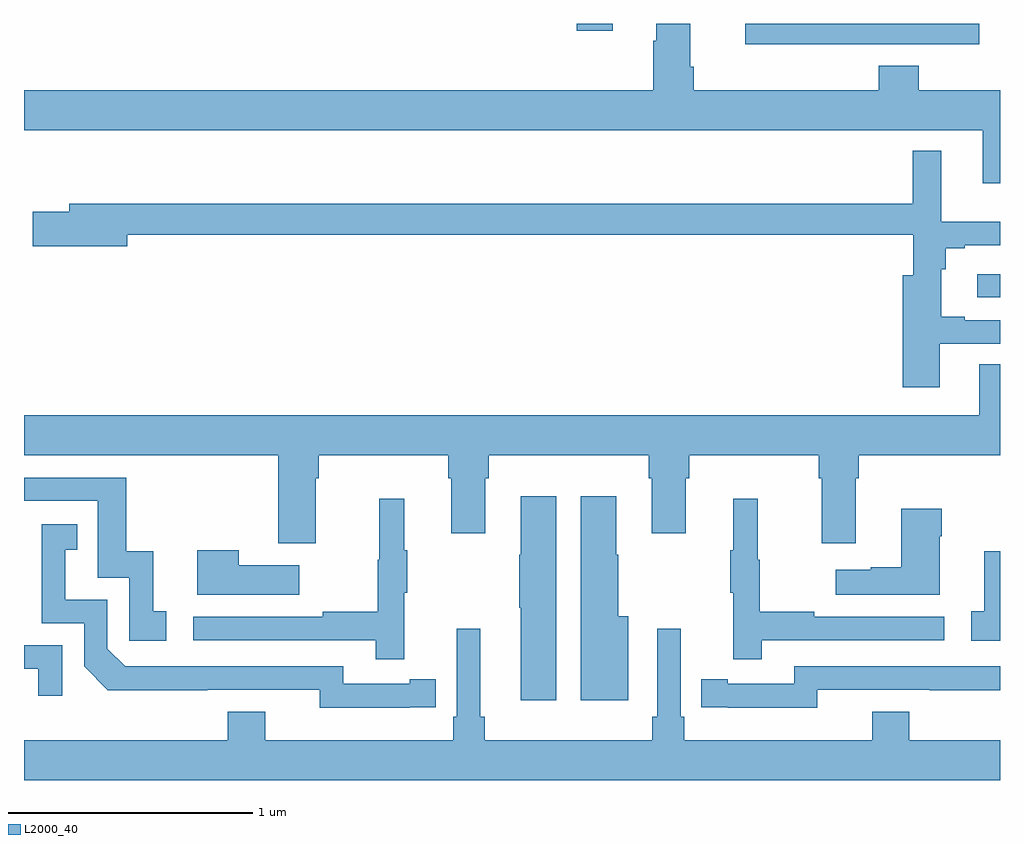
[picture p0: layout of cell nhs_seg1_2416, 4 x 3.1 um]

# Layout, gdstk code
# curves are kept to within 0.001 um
import gdstk
lib = gdstk.Library(unit=1e-6, precision=1e-09)
def R(c, l, rs):  # rectangles x0, y0, x1, y1
    for r in rs: c.add(gdstk.rectangle(r[:2], r[2:], *l))
def P(c, l, *ps):  # polygons
    for p in ps: c.add(gdstk.Polygon(p, *l))
L2000_40 = (2000, 40)

nhs_seg1_2416 = lib.new_cell('nhs_seg1_2416')
R(nhs_seg1_2416, L2000_40, [(246.906,519.078,247,519.174), (245.265,520.17,245.413,520.199)])
P(nhs_seg1_2416, L2000_40, [(247,519.928),(246.668,519.928),(246.668,520.027),(246.503,520.027),(246.503,519.928),(245.744,519.928),(245.744,520.024),(245.731,520.024),(245.731,520.199),(245.591,520.199),(245.591,520.13),(245.579,520.13),(245.579,519.928),(243,519.928),(243,519.764),(246.929,519.764),(246.929,519.546),(247,519.546)],
  [(246.419,520.116),(246.915,520.116),(246.915,520.199),(245.956,520.199),(245.956,520.115),(246.419,520.115)],
  [(246.754,518.889),(247,518.889),(247,518.985),(246.856,518.985),(246.856,518.998),(246.76,518.998),(246.76,519.194),(246.778,519.194),(246.778,519.279),(246.856,519.279),(246.856,519.291),(247,519.291),(247,519.388),(246.76,519.388),(246.76,519.679),(246.642,519.679),(246.642,519.463),(243.185,519.463),(243.185,519.429),(243.036,519.429),(243.036,519.287),(243.424,519.287),(243.424,519.334),(246.644,519.334),(246.644,519.169),(246.602,519.169),(246.602,518.709),(246.754,518.709)],
  [(243,518.432),(244.043,518.432),(244.043,518.07),(244.195,518.07),(244.195,518.336),(244.208,518.336),(244.208,518.432),(244.739,518.432),(244.739,518.336),(244.751,518.336),(244.751,518.112),(244.891,518.112),(244.891,518.336),(244.904,518.336),(244.904,518.432),(245.561,518.432),(245.561,518.336),(245.573,518.336),(245.573,518.112),(245.713,518.112),(245.713,518.336),(245.726,518.336),(245.726,518.432),(246.257,518.432),(246.257,518.336),(246.269,518.336),(246.269,518.07),(246.409,518.07),(246.409,518.336),(246.422,518.336),(246.422,518.432),(247,518.432),(247,518.804),(246.914,518.804),(246.914,518.596),(243,518.596)],
  [(243.583,517.791),(243.53,517.791),(243.53,518.038),(243.419,518.038),(243.419,518.34),(243,518.34),(243,518.244),(243.303,518.244),(243.303,517.929),(243.432,517.929),(243.432,517.671),(243.583,517.671)],
  [(245.182,518.263),(245.036,518.263),(245.036,518.024),(245.029,518.024),(245.029,517.807),(245.036,517.807),(245.036,517.428),(245.182,517.428)],
  [(245.476,517.771),(245.436,517.771),(245.436,518.024),(245.428,518.024),(245.428,518.263),(245.282,518.263),(245.282,517.427),(245.476,517.427)],
  [(244.559,517.867),(244.57,517.867),(244.57,518.041),(244.559,518.041),(244.559,518.254),(244.456,518.254),(244.456,518.004),(244.449,518.004),(244.449,517.79),(244.225,517.79),(244.225,517.77),(243.693,517.77),(243.693,517.674),(244.441,517.674),(244.441,517.596),(244.559,517.596)],
  [(246.023,517.674),(246.772,517.674),(246.772,517.77),(246.239,517.77),(246.239,517.79),(246.016,517.79),(246.016,518.004),(246.008,518.004),(246.008,518.254),(245.906,518.254),(245.906,518.041),(245.895,518.041),(245.895,517.867),(245.906,517.867),(245.906,517.596),(246.023,517.596)],
  [(246.754,518.099),(246.762,518.099),(246.762,518.212),(246.596,518.212),(246.596,517.973),(246.47,517.973),(246.47,517.963),(246.327,517.963),(246.327,517.859),(246.754,517.859)],
  [(244.58,517.398),(244.688,517.398),(244.688,517.514),(244.58,517.514),(244.58,517.494),(244.308,517.494),(244.308,517.566),(243.414,517.566),(243.342,517.638),(243.342,517.839),(243.169,517.839),(243.169,518.043),(243.218,518.043),(243.218,518.149),(243.072,518.149),(243.072,517.743),(243.246,517.743),(243.246,517.566),(243.344,517.469),(244.212,517.47),(244.212,517.397)],
  [(244.129,517.981),(243.881,517.981),(243.881,518.041),(243.71,518.041),(243.71,517.859),(244.129,517.859)],
  [(247,518.038),(246.935,518.038),(246.935,517.791),(246.882,517.791),(246.882,517.671),(247,517.671)],
  [(247,517.264),(246.629,517.264),(246.629,517.381),(246.476,517.381),(246.476,517.264),(245.705,517.264),(245.705,517.36),(245.691,517.36),(245.691,517.72),(245.595,517.72),(245.595,517.36),(245.575,517.36),(245.575,517.264),(244.889,517.264),(244.889,517.36),(244.87,517.36),(244.87,517.72),(244.773,517.72),(244.773,517.36),(244.76,517.36),(244.76,517.264),(243.988,517.264),(243.988,517.381),(243.836,517.381),(243.836,517.264),(243,517.264),(243,517.1),(247,517.1)],
  [(243.156,517.653),(243,517.653),(243,517.557),(243.059,517.557),(243.059,517.446),(243.156,517.446)],
  [(246.252,517.47),(246.712,517.47),(246.712,517.469),(247,517.469),(247,517.566),(246.156,517.566),(246.156,517.494),(245.884,517.494),(245.884,517.514),(245.776,517.514),(245.776,517.398),(245.884,517.398),(245.884,517.397),(246.252,517.397)])

lib.write_gds('nhs_seg1_2416.gds')
